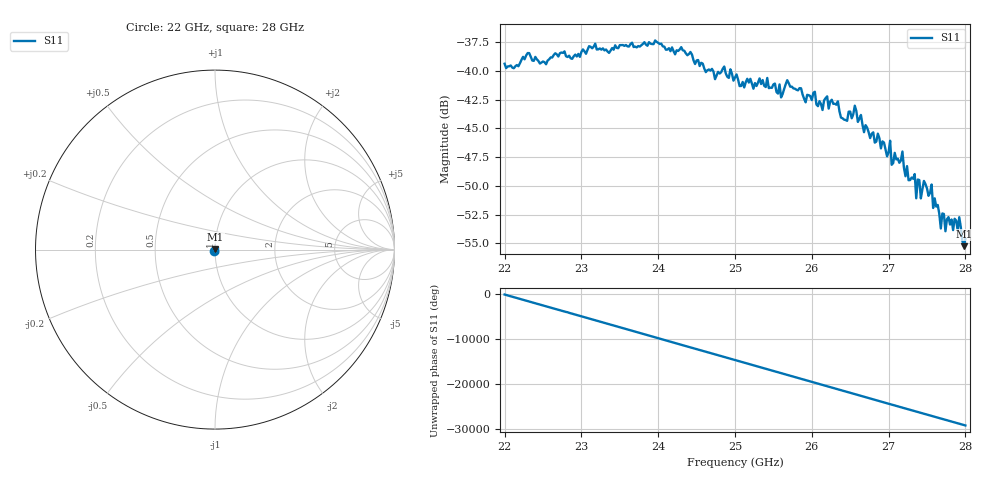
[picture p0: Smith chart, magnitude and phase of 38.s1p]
#  HZ  S  RI  R  50.00
! Rohde & Schwarz ZVA40 4Ports - Version 3.90 - 1145.1110k42 SN: 100403
! Date: 2023-10-04 08:45:42
! Measurement: S12
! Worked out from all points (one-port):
!   301 points, 22 GHz to 28 GHz, reference 50 ohm
!   lowest |S11| = -55.3 dB at 27.98 GHz (marker M1), VSWR 1.00, Z = 50.1 + j0.132 ohm
!   |S11| at or under -10 dB: start of sweep to end of sweep
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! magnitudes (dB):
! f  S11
! 22 GHz  -39.4
! 22.76 GHz  -38.4
! 23.5 GHz  -37.7
! 24.26 GHz  -38.2
! 25 GHz  -40.6
! 25.76 GHz  -41.5
! 26.5 GHz  -43.5
! 26.98 GHz  -47.4
! 27.02 GHz  -46.1
! 27.04 GHz  -48.2
! 27.18 GHz  -47.0
! 27.26 GHz  -49.5
! 27.34 GHz  -49.0
! 27.36 GHz  -51.1
! 27.38 GHz  -49.4
! 27.42 GHz  -51.1
! 27.46 GHz  -49.6
! 27.52 GHz  -50.9
! 27.56 GHz  -49.9
! 27.58 GHz  -51.9
! 27.64 GHz  -51.7
! 27.68 GHz  -53.7
! 27.7 GHz  -52.4
! 27.74 GHz  -54.0
! 27.9 GHz  -53.9
! 27.92 GHz  -52.7
! 27.98 GHz  -55.3
! 28 GHz  -54.6
